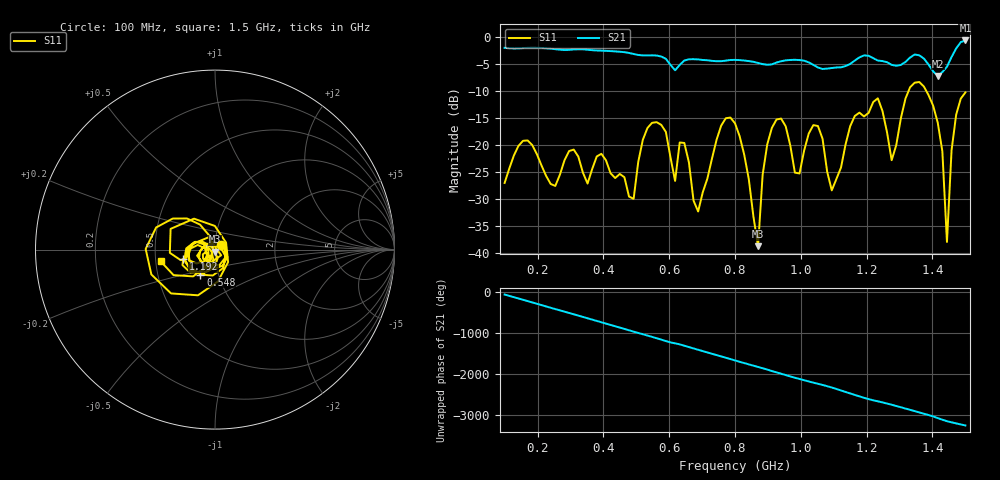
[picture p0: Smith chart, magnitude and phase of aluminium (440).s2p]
! NanoVNA-App
! Date: 2025-09-25 14:58:42
! Start: 100MHz Stop: 1,5GHz Points: 101
! S-Parameter data: F S11 S21 S12 S22
# Hz S RI R 50
!  Frequency  S11_Real  S11_Imag  S21_Real  S21_Imag  S12_Real  S12_Imag  S22_Real  S22_Imag
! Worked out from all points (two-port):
!   101 points, 100 MHz to 1.5 GHz, reference 50 ohm
!   highest |S21| = -0.56 dB at 1.5 GHz (marker M1); lowest = -7.1 dB at 1.416 GHz (marker M2)
!   |S21| within 3 dB of the highest: start of sweep to 576.7 MHz; 1.459 GHz to end of sweep (the widest 2 of 4)
!   lowest |S11| = -38.7 dB at 870 MHz (marker M3), VSWR 1.02, Z = 50.2 - j1.15 ohm
!   |S11| at or under -10 dB: start of sweep to 1.327 GHz; 1.382 GHz to end of sweep
!   S12 and S22 are empty: the file has one direction only
!   S11 on the Smith chart (normalised r, x): 100 MHz: 1.07, +0.06; 548 MHz: 0.82, -0.23; 1.192 GHz: 0.70, -0.08; 1.5 GHz: 0.53, -0.08
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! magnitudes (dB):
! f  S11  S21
! 100 MHz  -27.0  -1.9
! 156 MHz  -19.1  -2.0
! 338 MHz  -25.1  -2.2
! 492 MHz  -29.9  -3.1
! 548 MHz  -15.8  -3.3
! 576 MHz  -16.2  -3.5
! 646 MHz  -19.6  -4.3
! 688 MHz  -32.2  -4.1
! 800 MHz  -15.9  -4.2
! 870 MHz  -38.7  -4.7
! 912 MHz  -16.8  -5.0
! 996 MHz  -25.2  -4.2
! 1.038 GHz  -16.2  -5.1
! 1.094 GHz  -28.3  -5.7
! 1.192 GHz  -14.6  -3.3
! 1.234 GHz  -11.3  -4.3
! 1.276 GHz  -22.7  -5.1
! 1.346 GHz  -8.4  -3.2
! 1.416 GHz  -15.8  -7.1
! 1.444 GHz  -37.9  -5.4
! 1.458 GHz  -20.9  -3.6
! 1.5 GHz  -10.2  -0.6
